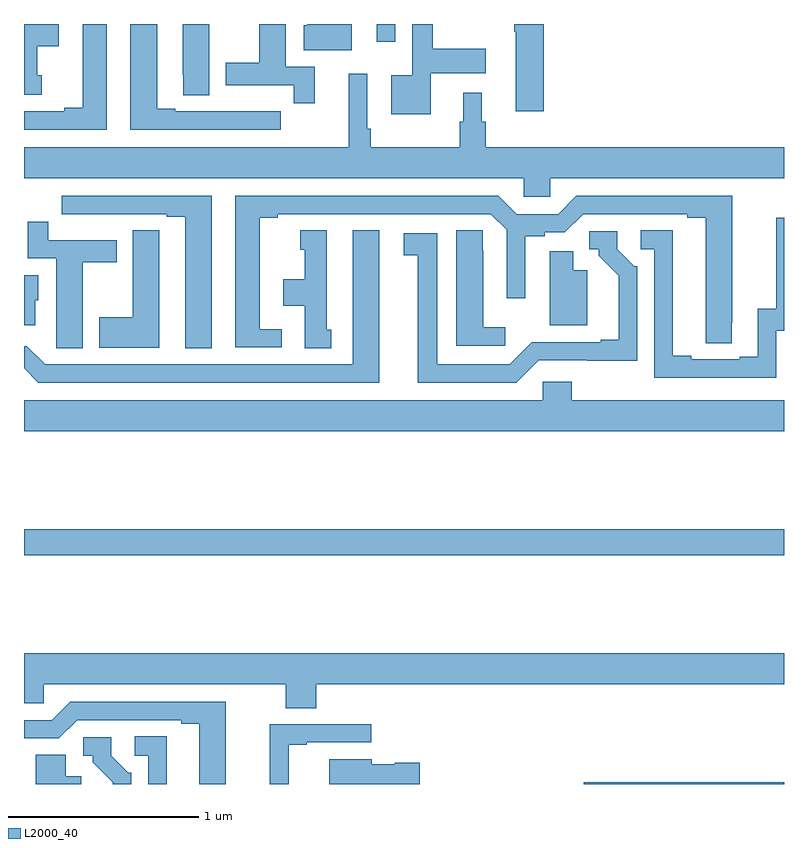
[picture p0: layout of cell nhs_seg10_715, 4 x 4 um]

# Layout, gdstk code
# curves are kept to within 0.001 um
import gdstk
lib = gdstk.Library(unit=1e-6, precision=1e-09)
def R(c, l, rs):  # rectangles x0, y0, x1, y1
    for r in rs: c.add(gdstk.rectangle(r[:2], r[2:], *l))
def P(c, l, *ps):  # polygons
    for p in ps: c.add(gdstk.Polygon(p, *l))
L2000_40 = (2000, 40)

nhs_seg10_715 = lib.new_cell('nhs_seg10_715')
R(nhs_seg10_715, L2000_40, [(149.945,1258.5,151,1258.508), (147,1259.704,151,1259.84), (148.856,1262.406,148.953,1262.5)])
P(nhs_seg10_715, L2000_40, [(148.529,1262.274),(148.378,1262.274),(148.378,1262.5),(148.238,1262.5),(148.238,1262.295),(148.061,1262.295),(148.061,1262.178),(148.42,1262.178),(148.42,1262.082),(148.529,1262.082)],
  [(147.976,1262.5),(147.836,1262.5),(147.836,1262.233),(147.837,1262.233),(147.837,1262.125),(147.976,1262.125)],
  [(149.14,1262.24),(149.431,1262.24),(149.431,1262.37),(149.152,1262.37),(149.152,1262.5),(149.043,1262.5),(149.043,1262.23),(148.934,1262.23),(148.934,1262.024),(149.14,1262.024)],
  [(149.735,1262.5),(149.581,1262.5),(149.581,1262.458),(149.588,1262.458),(149.588,1262.04),(149.735,1262.04)],
  [(147.094,1262.229),(147.07,1262.229),(147.07,1262.384),(147.184,1262.384),(147.184,1262.5),(147,1262.5),(147,1262.127),(147.094,1262.127)],
  [(148.351,1262.04),(148.238,1262.04),(148.238,1262.041),(148.072,1262.041),(148.072,1262.04),(147.796,1262.04),(147.796,1262.055),(147.7,1262.055),(147.7,1262.5),(147.56,1262.5),(147.56,1261.944),(148.351,1261.944)],
  [(147.436,1262.5),(147.308,1262.5),(147.308,1262.06),(147.212,1262.06),(147.212,1262.04),(147,1262.04),(147,1261.944),(147.436,1261.944)],
  [(148.726,1262.5),(148.49,1262.5),(148.49,1262.493),(148.472,1262.493),(148.472,1262.363),(148.726,1262.363)],
  [(149.769,1261.688),(151,1261.688),(151,1261.852),(149.429,1261.852),(149.429,1261.986),(149.41,1261.986),(149.41,1262.137),(149.312,1262.137),(149.312,1261.986),(149.293,1261.986),(149.293,1261.852),(148.826,1261.852),(148.826,1261.948),(148.806,1261.948),(148.806,1262.239),(148.709,1262.239),(148.709,1261.852),(147,1261.852),(147,1261.688),(149.631,1261.688),(149.631,1261.59),(149.769,1261.59)],
  [(147.988,1261.596),(147.198,1261.596),(147.198,1261.5),(147.31,1261.5),(147.31,1261.499),(147.476,1261.499),(147.476,1261.5),(147.752,1261.5),(147.752,1261.485),(147.848,1261.485),(147.848,1260.793),(147.988,1260.793)],
  [(148.357,1260.894),(148.24,1260.894),(148.24,1261.48),(148.336,1261.48),(148.336,1261.5),(149.457,1261.5),(149.541,1261.416),(149.541,1261.056),(149.638,1261.056),(149.638,1261.384),(149.742,1261.384),(149.742,1261.404),(149.847,1261.404),(149.943,1261.5),(150.491,1261.5),(150.491,1261.48),(150.587,1261.48),(150.587,1260.82),(150.726,1260.82),(150.727,1261.596),(149.907,1261.596),(149.811,1261.5),(149.593,1261.5),(149.497,1261.596),(148.112,1261.596),(148.112,1260.798),(148.357,1260.798)],
  [(150.96,1260.885),(151,1260.885),(151,1261.479),(150.958,1261.479),(150.958,1261.001),(150.863,1261.001),(150.863,1260.75),(150.767,1260.75),(150.767,1260.735),(150.511,1260.735),(150.511,1260.755),(150.415,1260.755),(150.415,1261.415),(150.246,1261.415),(150.246,1261.314),(150.318,1261.314),(150.318,1260.639),(150.96,1260.639)],
  [(147.31,1261.246),(147.487,1261.246),(147.487,1261.362),(147.128,1261.362),(147.128,1261.459),(147.02,1261.459),(147.02,1261.266),(147.17,1261.266),(147.17,1260.904),(147.171,1260.904),(147.171,1260.793),(147.31,1260.793)],
  [(147.712,1261.307),(147.711,1261.307),(147.711,1261.415),(147.572,1261.415),(147.572,1260.957),(147.395,1260.957),(147.395,1260.797),(147.712,1260.797)],
  [(149.533,1260.904),(149.416,1260.904),(149.416,1261.307),(149.415,1261.307),(149.415,1261.415),(149.276,1261.415),(149.276,1260.807),(149.533,1260.807)],
  [(148.87,1261.414),(148.73,1261.414),(148.73,1260.708),(147.111,1260.708),(147.015,1260.804),(147,1260.804),(147,1260.687),(147.075,1260.612),(148.87,1260.612)],
  [(148.618,1260.891),(148.594,1260.891),(148.594,1261.414),(148.454,1261.414),(148.454,1261.311),(148.478,1261.311),(148.478,1261.156),(148.364,1261.156),(148.364,1261.016),(148.478,1261.016),(148.478,1260.793),(148.618,1260.793)],
  [(149.709,1260.729),(150.228,1260.728),(150.228,1261.224),(150.213,1261.224),(150.123,1261.314),(150.123,1261.41),(149.976,1261.41),(149.976,1261.314),(150.026,1261.314),(150.026,1261.279),(150.131,1261.174),(150.131,1260.838),(150.035,1260.838),(150.035,1260.825),(149.673,1260.825),(149.556,1260.708),(149.176,1260.708),(149.176,1261.398),(148.998,1261.398),(148.998,1261.282),(149.072,1261.282),(149.072,1260.612),(149.592,1260.612)],
  [(149.965,1261.204),(149.89,1261.204),(149.89,1261.303),(149.768,1261.303),(149.768,1260.914),(149.965,1260.914)],
  [(147.058,1261.047),(147.076,1261.047),(147.076,1261.177),(147,1261.177),(147,1260.914),(147.058,1260.914)],
  [(151,1260.52),(149.882,1260.52),(149.882,1260.618),(149.73,1260.618),(149.73,1260.52),(147,1260.52),(147,1260.356),(151,1260.356)],
  [(148.538,1259.024),(151,1259.024),(151,1259.188),(147,1259.188),(147,1258.926),(147.105,1258.926),(147.105,1259.024),(148.378,1259.024),(148.378,1258.9),(148.538,1258.9)],
  [(148.063,1258.932),(147.243,1258.932),(147.147,1258.836),(147,1258.836),(147,1258.74),(147.183,1258.74),(147.279,1258.836),(147.827,1258.836),(147.827,1258.816),(147.923,1258.816),(147.923,1258.5),(148.063,1258.5)],
  [(148.394,1258.707),(148.489,1258.707),(148.489,1258.719),(148.828,1258.719),(148.828,1258.815),(148.294,1258.815),(148.294,1258.5),(148.394,1258.5)],
  [(147.751,1258.751),(147.582,1258.751),(147.582,1258.65),(147.654,1258.65),(147.654,1258.5),(147.751,1258.5)],
  [(147.564,1258.56),(147.549,1258.56),(147.459,1258.65),(147.459,1258.746),(147.312,1258.746),(147.312,1258.65),(147.362,1258.65),(147.362,1258.615),(147.467,1258.51),(147.467,1258.5),(147.564,1258.5)],
  [(147.301,1258.54),(147.22,1258.54),(147.22,1258.655),(147.062,1258.655),(147.062,1258.5),(147.301,1258.5)],
  [(149.083,1258.611),(148.95,1258.611),(148.95,1258.603),(148.83,1258.603),(148.83,1258.63),(148.607,1258.63),(148.607,1258.5),(149.083,1258.5)])

lib.write_gds('nhs_seg10_715.gds')
